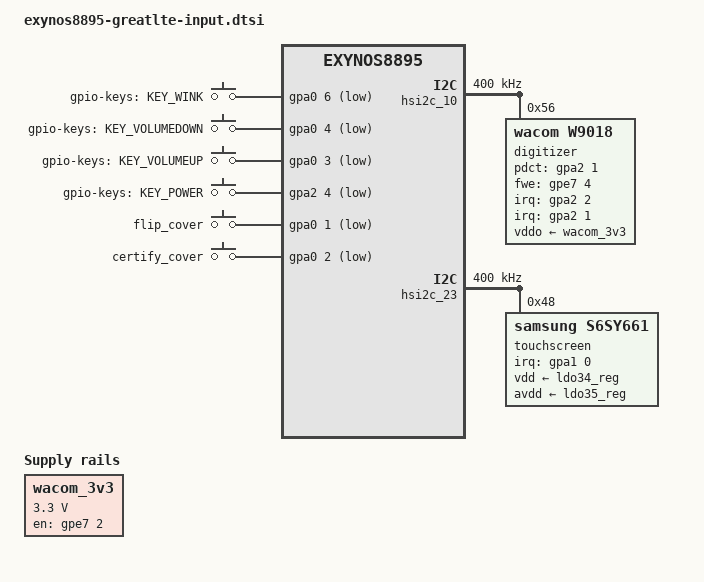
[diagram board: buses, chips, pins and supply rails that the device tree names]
// SPDX-License-Identifier: GPL-2.0 OR BSD-3-Clause
/*
 * Samsung Galaxy Note 8 (SM-N950N) input devices
 */

#include <dt-bindings/gpio/gpio.h>
#include <dt-bindings/input/input.h>
#include <dt-bindings/interrupt-controller/irq.h>

/ {
	gpio-keys {
		compatible = "gpio-keys";
		label = "gpio_keys";
		pinctrl-names = "default";
		pinctrl-0 = <&key_wink &key_voldown &key_volup &key_power>;

		key-wink {
			label = "gpio-keys: KEY_WINK";
			gpios = <&gpa0 6 GPIO_ACTIVE_LOW>;
			linux,code = <0x2bf>;
			wakeup-source;
		};

		key-volume-down {
			label = "gpio-keys: KEY_VOLUMEDOWN";
			gpios = <&gpa0 4 GPIO_ACTIVE_LOW>;
			linux,code = <KEY_VOLUMEDOWN>;
		};

		key-volume-up {
			label = "gpio-keys: KEY_VOLUMEUP";
			gpios = <&gpa0 3 GPIO_ACTIVE_LOW>;
			linux,code = <KEY_VOLUMEUP>;
		};

		key-power {
			label = "gpio-keys: KEY_POWER";
			gpios = <&gpa2 4 GPIO_ACTIVE_LOW>;
			linux,code = <KEY_POWER>;
			wakeup-source;
		};
	};

	hall-keys {
		compatible = "gpio-keys";
		label = "hall";
		pinctrl-names = "default";
		pinctrl-0 = <&hall_irq>;

		flip-cover {
			label = "flip_cover";
			gpios = <&gpa0 1 GPIO_ACTIVE_LOW>;
			linux,input-type = <EV_SW>;
			linux,code = <SW_LID>;
			wakeup-source;
			debounce-interval = <10>;
		};
	};

	wacom_3v3: regulator-wacom {
		compatible = "regulator-fixed";
		regulator-name = "wacom_3.3v";
		regulator-min-microvolt = <3300000>;
		regulator-max-microvolt = <3300000>;
		gpio = <&gpe7 2 GPIO_ACTIVE_HIGH>;
		enable-active-high;
		regulator-boot-on;
	};

	certify-hall-keys {
		compatible = "gpio-keys";
		label = "certify_hall";
		pinctrl-names = "default";
		pinctrl-0 = <&certify_hall_irq>;

		certify-cover {
			label = "certify_cover";
			gpios = <&gpa0 2 GPIO_ACTIVE_LOW>;
			linux,input-type = <EV_SW>;
			linux,code = <SW_MACHINE_COVER>;
			wakeup-source;
			debounce-interval = <10>;
		};
	};
};

&hsi2c_10 {
	clock-frequency = <400000>;
	status = "okay";

	digitizer@56 {
		compatible = "wacom,w9018";
		reg = <0x56>;
		interrupts-extended = <&gpa2 2 IRQ_TYPE_LEVEL_LOW>,
				      <&gpa2 1 IRQ_TYPE_EDGE_BOTH>;
		interrupt-names = "data", "pdct";
		pdct-gpios = <&gpa2 1 GPIO_ACTIVE_HIGH>;
		fwe-gpios = <&gpe7 4 GPIO_ACTIVE_HIGH>;
		vddo-supply = <&wacom_3v3>;
		wacom,xy-switch;
		wacom,x-invert;
		pinctrl-names = "default";
		pinctrl-0 = <&epen_int_active>;
	};
};

&hsi2c_23 {
	clock-frequency = <400000>;
	status = "okay";

	touchscreen@48 {
		compatible = "samsung,s6sy661";
		reg = <0x48>;
		interrupt-parent = <&gpa1>;
		interrupts = <0 IRQ_TYPE_LEVEL_LOW>;
		vdd-supply = <&ldo34_reg>;
		avdd-supply = <&ldo35_reg>;
		touchscreen-size-x = <4096>;
		touchscreen-size-y = <4096>;
		pinctrl-names = "default", "sleep";
		pinctrl-0 = <&attn_irq>;
		pinctrl-1 = <&attn_input>;
		samsung,sponge-model = "N950";
		panel = <&panel>;
	};
};

&pinctrl_alive {
	attn_irq: attn-irq-pins {
		samsung,pins = "gpa1-0";
		samsung,pin-function = <EXYNOS_PIN_FUNC_EINT>;
		samsung,pin-pud = <EXYNOS_PIN_PULL_NONE>;
		samsung,pin-drv = <EXYNOS7_PIN_DRV_LV1>;
	};

	attn_input: attn-input-pins {
		samsung,pins = "gpa1-0";
		samsung,pin-function = <EXYNOS_PIN_FUNC_INPUT>;
		samsung,pin-pud = <EXYNOS_PIN_PULL_DOWN>;
	};

	epen_int_active: epen-int-active-pins {
		samsung,pins = "gpa2-1", "gpa2-2";
		samsung,pin-function = <EXYNOS_PIN_FUNC_EINT>;
		samsung,pin-pud = <EXYNOS_PIN_PULL_NONE>;
		samsung,pin-drv = <EXYNOS7_PIN_DRV_LV1>;
	};

	key_wink: key-wink-pins {
		samsung,pins = "gpa0-6";
		samsung,pin-function = <EXYNOS_PIN_FUNC_EINT>;
		samsung,pin-pud = <EXYNOS_PIN_PULL_NONE>;
		samsung,pin-drv = <EXYNOS7_PIN_DRV_LV1>;
	};

	key_voldown: key-voldown-pins {
		samsung,pins = "gpa0-4";
		samsung,pin-function = <EXYNOS_PIN_FUNC_EINT>;
		samsung,pin-pud = <EXYNOS_PIN_PULL_NONE>;
		samsung,pin-drv = <EXYNOS7_PIN_DRV_LV1>;
	};

	key_volup: key-volup-pins {
		samsung,pins = "gpa0-3";
		samsung,pin-function = <EXYNOS_PIN_FUNC_EINT>;
		samsung,pin-pud = <EXYNOS_PIN_PULL_NONE>;
		samsung,pin-drv = <EXYNOS7_PIN_DRV_LV1>;
	};

	key_power: key-power-pins {
		samsung,pins = "gpa2-4";
		samsung,pin-function = <EXYNOS_PIN_FUNC_EINT>;
		samsung,pin-pud = <EXYNOS_PIN_PULL_NONE>;
		samsung,pin-drv = <EXYNOS7_PIN_DRV_LV1>;
	};

	hall_irq: hall-irq-pins {
		samsung,pins = "gpa0-1";
		samsung,pin-function = <EXYNOS_PIN_FUNC_EINT>;
		samsung,pin-pud = <EXYNOS_PIN_PULL_NONE>;
		samsung,pin-drv = <EXYNOS7_PIN_DRV_LV1>;
	};

	certify_hall_irq: certify-hall-irq-pins {
		samsung,pins = "gpa0-2";
		samsung,pin-function = <EXYNOS_PIN_FUNC_EINT>;
		samsung,pin-pud = <EXYNOS_PIN_PULL_NONE>;
		samsung,pin-drv = <EXYNOS7_PIN_DRV_LV1>;
	};
};
